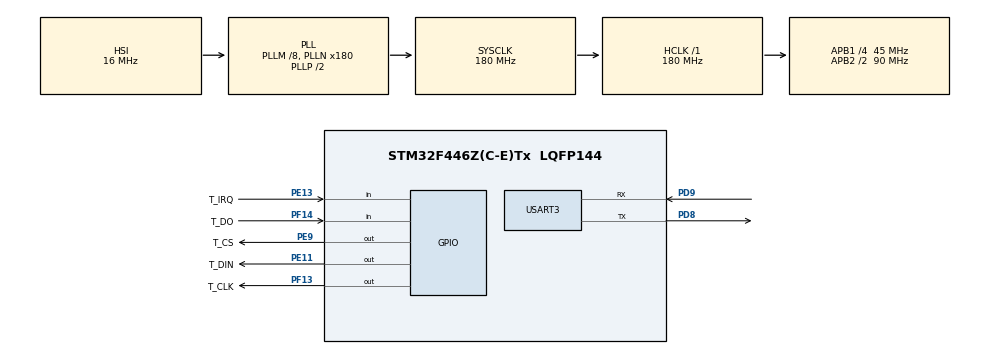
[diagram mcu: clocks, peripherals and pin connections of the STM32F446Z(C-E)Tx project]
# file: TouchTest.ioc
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Mcu.Family=STM32F4
Mcu.Name=STM32F446Z(C-E)Tx
Mcu.Package=LQFP144
NVIC.PriorityGroup=NVIC_PRIORITYGROUP_4
PD8.Mode=Asynchronous
PD8.Signal=USART3_TX
PD9.Mode=Asynchronous
PD9.Signal=USART3_RX
PE11.GPIO_Label=T_DIN
PE11.GPIO_Speed=GPIO_SPEED_FREQ_VERY_HIGH
PE11.Signal=GPIO_Output
PE13.GPIO_Label=T_IRQ
PE13.Signal=GPIO_Input
PE9.GPIO_Label=T_CS
PE9.GPIO_Speed=GPIO_SPEED_FREQ_VERY_HIGH
PE9.Signal=GPIO_Output
PF13.GPIO_Label=T_CLK
PF13.GPIO_Speed=GPIO_SPEED_FREQ_VERY_HIGH
PF13.Signal=GPIO_Output
PF14.GPIO_Label=T_DO
PF14.Signal=GPIO_Input
ProjectManager.HeapSize=0x200
ProjectManager.StackSize=0x400
ProjectManager.TargetToolchain=STM32CubeIDE
RCC.AHBFreq_Value=180000000
RCC.APB1CLKDivider=RCC_HCLK_DIV4
RCC.APB1Freq_Value=45000000
RCC.APB1TimFreq_Value=90000000
RCC.APB2CLKDivider=RCC_HCLK_DIV2
RCC.APB2Freq_Value=90000000
RCC.APB2TimFreq_Value=180000000
RCC.CortexFreq_Value=180000000
RCC.HCLKFreq_Value=180000000
RCC.PLLM=8
RCC.PLLN=180
RCC.SYSCLKFreq_VALUE=180000000
RCC.SYSCLKSource=RCC_SYSCLKSOURCE_PLLCLK
RCC.USBFreq_Value=180000000
RCC.VCOOutputFreq_Value=360000000
USART3.VirtualMode=VM_ASYNC
board=custom

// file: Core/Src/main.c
/* USER CODE BEGIN Header */
/**
  ******************************************************************************
  * @file           : main.c
  * @brief          : Main program body
  ******************************************************************************
  * @attention
  *
  * <h2><center>&copy; Copyright (c) 2020 STMicroelectronics.
  * All rights reserved.</center></h2>
  *
  * This software component is licensed by ST under BSD 3-Clause license,
  * the "License"; You may not use this file except in compliance with the
  * License. You may obtain a copy of the License at:
  *                        opensource.org/licenses/BSD-3-Clause
  *
  ******************************************************************************
  */
/* USER CODE END Header */

#include "main.h"

/* USER CODE BEGIN Includes */
#include <stdio.h>
#include <string.h>
#include "touch.h"
/* USER CODE END Includes */

UART_HandleTypeDef huart3;

void SystemClock_Config(void);
static void MX_GPIO_Init(void);
static void MX_USART3_UART_Init(void);

int main(void)
{
  /* USER CODE BEGIN 1 */
	uint16_t x, y;
	uint8_t str[16];
  /* USER CODE END 1 */

  /* MCU Configuration--------------------------------------------------------*/

  /* Reset of all peripherals, Initializes the Flash interface and the Systick. */
  HAL_Init();

  /* Configure the system clock */
  SystemClock_Config();

  /* Initialize all configured peripherals */
  MX_GPIO_Init();
  MX_USART3_UART_Init();
  /* USER CODE BEGIN 2 */
  x = y = 4095;

  /* USER CODE END 2 */

  /* Infinite loop */
  while (1)
  {

    /* USER CODE BEGIN 3 */
	  XPT2046_Scan();
	  if (XPT2046_GetStatus() & TP_PRES_DOWN) {
		  // For rotate 90
		  y = XPT2046_Read_XOY(CMD_RDX);
		  x = XPT2046_Read_XOY(CMD_RDY);
	  } else {
		  y = x = 4095;
	  }
	  sprintf((char *)str, "%d %d\n", x, y);
	  HAL_UART_Transmit(&huart3, str, strlen((char *)str), 1000);
	  HAL_Delay(100);
	  // x axis from 350 to 3800
	  // y axis from 350 to 3600
  }
  /* USER CODE END 3 */
}

void SystemClock_Config(void)
{
  RCC_OscInitTypeDef RCC_OscInitStruct = {0};
  RCC_ClkInitTypeDef RCC_ClkInitStruct = {0};

  /** Configure the main internal regulator output voltage
  */
  __HAL_RCC_PWR_CLK_ENABLE();
  __HAL_PWR_VOLTAGESCALING_CONFIG(PWR_REGULATOR_VOLTAGE_SCALE1);
  /** Initializes the CPU, AHB and APB busses clocks
  */
  RCC_OscInitStruct.OscillatorType = RCC_OSCILLATORTYPE_HSI;
  RCC_OscInitStruct.HSIState = RCC_HSI_ON;
  RCC_OscInitStruct.HSICalibrationValue = RCC_HSICALIBRATION_DEFAULT;
  RCC_OscInitStruct.PLL.PLLState = RCC_PLL_ON;
  RCC_OscInitStruct.PLL.PLLSource = RCC_PLLSOURCE_HSI;
  RCC_OscInitStruct.PLL.PLLM = 8;
  RCC_OscInitStruct.PLL.PLLN = 180;
  RCC_OscInitStruct.PLL.PLLP = RCC_PLLP_DIV2;
  RCC_OscInitStruct.PLL.PLLQ = 2;
  RCC_OscInitStruct.PLL.PLLR = 2;
  if (HAL_RCC_OscConfig(&RCC_OscInitStruct) != HAL_OK)
  {
    Error_Handler();
  }
  /** Activate the Over-Drive mode
  */
  if (HAL_PWREx_EnableOverDrive() != HAL_OK)
  {
    Error_Handler();
  }
  /** Initializes the CPU, AHB and APB busses clocks
  */
  RCC_ClkInitStruct.ClockType = RCC_CLOCKTYPE_HCLK|RCC_CLOCKTYPE_SYSCLK
                              |RCC_CLOCKTYPE_PCLK1|RCC_CLOCKTYPE_PCLK2;
  RCC_ClkInitStruct.SYSCLKSource = RCC_SYSCLKSOURCE_PLLCLK;
  RCC_ClkInitStruct.AHBCLKDivider = RCC_SYSCLK_DIV1;
  RCC_ClkInitStruct.APB1CLKDivider = RCC_HCLK_DIV4;
  RCC_ClkInitStruct.APB2CLKDivider = RCC_HCLK_DIV2;

  if (HAL_RCC_ClockConfig(&RCC_ClkInitStruct, FLASH_LATENCY_5) != HAL_OK)
  {
    Error_Handler();
  }
}

static void MX_USART3_UART_Init(void)
{

  huart3.Instance = USART3;
  huart3.Init.BaudRate = 115200;
  huart3.Init.WordLength = UART_WORDLENGTH_8B;
  huart3.Init.StopBits = UART_STOPBITS_1;
  huart3.Init.Parity = UART_PARITY_NONE;
  huart3.Init.Mode = UART_MODE_TX_RX;
  huart3.Init.HwFlowCtl = UART_HWCONTROL_NONE;
  huart3.Init.OverSampling = UART_OVERSAMPLING_16;
  if (HAL_UART_Init(&huart3) != HAL_OK)
  {
    Error_Handler();
  }

}

static void MX_GPIO_Init(void)
{
  GPIO_InitTypeDef GPIO_InitStruct = {0};

  /* GPIO Ports Clock Enable */
  __HAL_RCC_GPIOF_CLK_ENABLE();
  __HAL_RCC_GPIOE_CLK_ENABLE();
  __HAL_RCC_GPIOD_CLK_ENABLE();

  /*Configure GPIO pin Output Level */
  HAL_GPIO_WritePin(T_CLK_GPIO_Port, T_CLK_Pin, GPIO_PIN_RESET);

  /*Configure GPIO pin Output Level */
  HAL_GPIO_WritePin(GPIOE, T_CS_Pin|T_DIN_Pin, GPIO_PIN_RESET);

  /*Configure GPIO pin : T_CLK_Pin */
  GPIO_InitStruct.Pin = T_CLK_Pin;
  GPIO_InitStruct.Mode = GPIO_MODE_OUTPUT_PP;
  GPIO_InitStruct.Pull = GPIO_NOPULL;
  GPIO_InitStruct.Speed = GPIO_SPEED_FREQ_VERY_HIGH;
  HAL_GPIO_Init(T_CLK_GPIO_Port, &GPIO_InitStruct);

  /*Configure GPIO pin : T_DO_Pin */
  GPIO_InitStruct.Pin = T_DO_Pin;
  GPIO_InitStruct.Mode = GPIO_MODE_INPUT;
  GPIO_InitStruct.Pull = GPIO_NOPULL;
  HAL_GPIO_Init(T_DO_GPIO_Port, &GPIO_InitStruct);

  /*Configure GPIO pins : T_CS_Pin T_DIN_Pin */
  GPIO_InitStruct.Pin = T_CS_Pin|T_DIN_Pin;
  GPIO_InitStruct.Mode = GPIO_MODE_OUTPUT_PP;
  GPIO_InitStruct.Pull = GPIO_NOPULL;
  GPIO_InitStruct.Speed = GPIO_SPEED_FREQ_VERY_HIGH;
  HAL_GPIO_Init(GPIOE, &GPIO_InitStruct);

  /*Configure GPIO pin : T_IRQ_Pin */
  GPIO_InitStruct.Pin = T_IRQ_Pin;
  GPIO_InitStruct.Mode = GPIO_MODE_INPUT;
  GPIO_InitStruct.Pull = GPIO_NOPULL;
  HAL_GPIO_Init(T_IRQ_GPIO_Port, &GPIO_InitStruct);

}

void Error_Handler(void)
{
}

/************************ (C) COPYRIGHT STMicroelectronics *****END OF FILE****/
